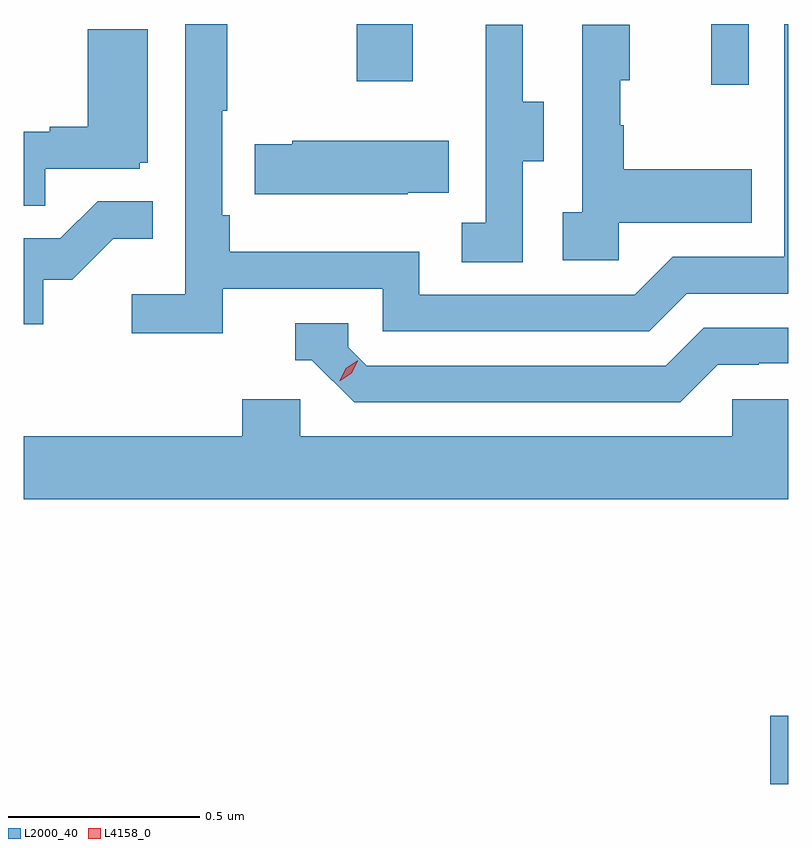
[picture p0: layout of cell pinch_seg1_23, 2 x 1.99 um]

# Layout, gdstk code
import gdstk
lib = gdstk.Library(unit=1e-6, precision=1e-09)
def R(c, l, rs):  # rectangles x0, y0, x1, y1
    for r in rs: c.add(gdstk.rectangle(r[:2], r[2:], *l))
def P(c, l, *ps):  # polygons
    for p in ps: c.add(gdstk.Polygon(p, *l))
L2000_40 = (2000, 40)
L4158_0 = (4158, 0)

pinch_seg1_23 = lib.new_cell('pinch_seg1_23')
R(pinch_seg1_23, L2000_40, [(1130.832,577.627,1130.879,577.805), (1130.678,579.456,1130.775,579.615), (1129.75,579.465,1129.897,579.615)])
P(pinch_seg1_23, L2000_40, [(1129.4,578.922),(1129.818,578.922),(1129.818,578.811),(1130.515,578.811),(1130.614,578.91),(1130.879,578.91),(1130.879,579.615),(1130.868,579.615),(1130.868,579.006),(1130.577,579.006),(1130.478,578.907),(1129.914,578.907),(1129.914,579.019),(1129.418,579.019),(1129.418,579.115),(1129.398,579.115),(1129.398,579.388),(1129.411,579.388),(1129.411,579.615),(1129.302,579.615),(1129.302,578.908),(1129.161,578.908),(1129.161,578.806),(1129.4,578.806)],
  [(1130.436,579.095),(1130.783,579.095),(1130.783,579.235),(1130.449,579.235),(1130.449,579.35),(1130.439,579.35),(1130.439,579.468),(1130.464,579.468),(1130.464,579.613),(1130.34,579.613),(1130.34,579.122),(1130.289,579.122),(1130.289,578.997),(1130.436,578.997)],
  [(1130.184,579.256),(1130.239,579.256),(1130.239,579.411),(1130.185,579.411),(1130.185,579.613),(1130.087,579.613),(1130.087,579.399),(1130.088,579.399),(1130.088,579.095),(1130.025,579.095),(1130.025,578.992),(1130.184,578.992)],
  [(1128.935,579.237),(1129.182,579.237),(1129.182,579.252),(1129.204,579.252),(1129.204,579.601),(1129.046,579.601),(1129.046,579.346),(1128.947,579.346),(1128.947,579.333),(1128.879,579.333),(1128.879,579.139),(1128.935,579.139)],
  [(1129.883,579.173),(1129.991,579.173),(1129.991,579.31),(1129.581,579.31),(1129.581,579.3),(1129.483,579.3),(1129.483,579.17),(1129.883,579.17)],
  [(1128.93,578.946),(1129.006,578.946),(1129.113,579.053),(1129.217,579.053),(1129.217,579.152),(1129.073,579.152),(1128.975,579.054),(1128.879,579.054),(1128.879,578.829),(1128.93,578.829)],
  [(1130.695,578.724),(1130.802,578.724),(1130.802,578.727),(1130.879,578.727),(1130.879,578.82),(1130.658,578.82),(1130.559,578.721),(1129.776,578.721),(1129.728,578.769),(1129.728,578.832),(1129.589,578.832),(1129.589,578.736),(1129.632,578.736),(1129.743,578.625),(1130.596,578.625)],
  [(1130.879,578.634),(1130.733,578.634),(1130.733,578.536),(1129.602,578.536),(1129.602,578.634),(1129.451,578.634),(1129.451,578.536),(1128.879,578.536),(1128.879,578.372),(1130.879,578.372)])
P(pinch_seg1_23, L4158_0, [(1129.706,578.682),(1129.706,578.682),(1129.722,578.715),(1129.752,578.734),(1129.753,578.734),(1129.753,578.734),(1129.737,578.702),(1129.707,578.682)])

lib.write_gds('pinch_seg1_23.gds')
